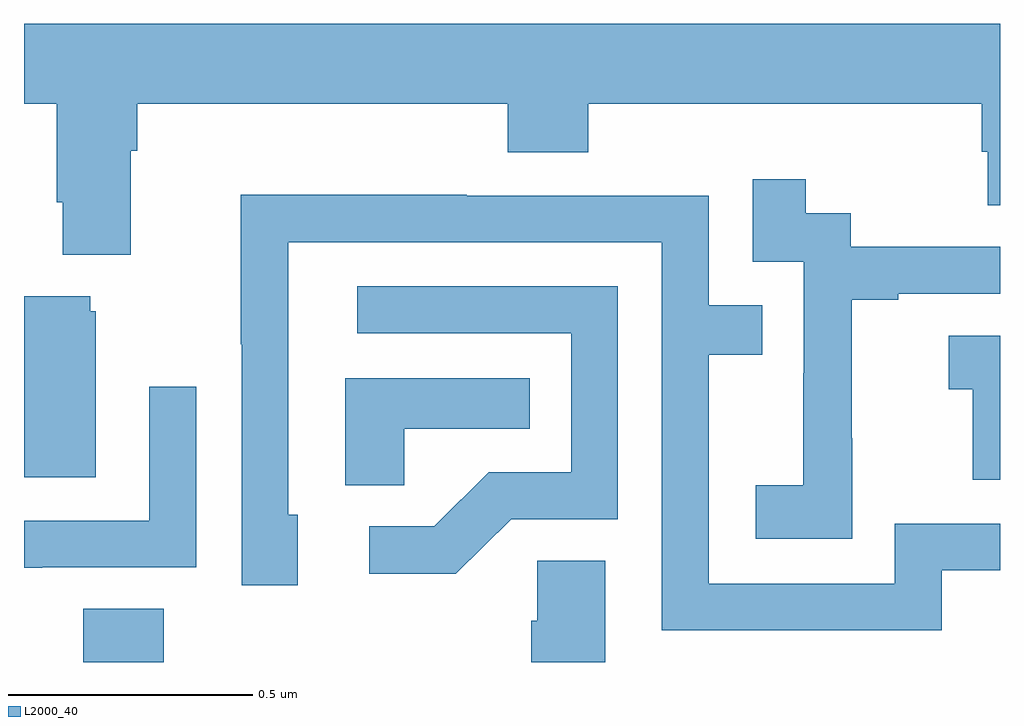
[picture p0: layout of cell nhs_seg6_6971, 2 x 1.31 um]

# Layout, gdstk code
import gdstk
lib = gdstk.Library(unit=1e-6, precision=1e-09)
def R(c, l, rs):  # rectangles x0, y0, x1, y1
    for r in rs: c.add(gdstk.rectangle(r[:2], r[2:], *l))
def P(c, l, *ps):  # polygons
    for p in ps: c.add(gdstk.Polygon(p, *l))
L2000_40 = (2000, 40)

nhs_seg6_6971 = lib.new_cell('nhs_seg6_6971')
R(nhs_seg6_6971, L2000_40, [(202.121,971.5,202.286,971.609)])
P(nhs_seg6_6971, L2000_40, [(202.219,972.548),(202.232,972.548),(202.232,972.644),(202.991,972.644),(202.991,972.545),(203.156,972.545),(203.156,972.644),(203.963,972.644),(203.963,972.546),(203.975,972.546),(203.975,972.436),(204,972.436),(204,972.808),(202,972.808),(202,972.644),(202.067,972.644),(202.067,972.442),(202.079,972.442),(202.079,972.335),(202.219,972.335)],
  [(203.697,971.959),(203.696,971.959),(203.696,972.243),(203.791,972.243),(203.791,972.255),(204,972.255),(204,972.351),(203.694,972.351),(203.694,972.42),(203.602,972.42),(203.602,972.49),(203.493,972.49),(203.493,972.321),(203.598,972.321),(203.598,972.092),(203.597,972.092),(203.597,971.863),(203.499,971.863),(203.499,971.753),(203.697,971.753)],
  [(203.881,971.688),(204,971.688),(204,971.784),(203.784,971.784),(203.784,971.661),(203.403,971.661),(203.403,972.13),(203.513,972.13),(203.513,972.231),(203.403,972.231),(203.403,972.456),(202.907,972.456),(202.907,972.458),(202.444,972.458),(202.444,972.151),(202.446,972.151),(202.446,971.658),(202.561,971.658),(202.561,971.802),(202.542,971.802),(202.542,972.36),(203.307,972.36),(203.307,971.565),(203.881,971.565)],
  [(202.998,971.793),(203.217,971.793),(203.217,972.27),(202.683,972.27),(202.683,972.174),(203.121,972.174),(203.121,971.889),(202.952,971.889),(202.841,971.778),(202.707,971.778),(202.707,971.681),(202.885,971.681)],
  [(202.147,972.219),(202.136,972.219),(202.136,972.25),(202,972.25),(202,971.879),(202.147,971.879)],
  [(204,972.169),(203.895,972.169),(203.895,972.059),(203.944,972.059),(203.944,971.874),(204,971.874)],
  [(202.779,971.978),(203.036,971.978),(203.036,972.082),(202.658,972.082),(202.658,971.863),(202.779,971.863)],
  [(202.037,971.694),(202.353,971.694),(202.353,972.064),(202.257,972.064),(202.257,971.79),(202,971.79),(202,971.693),(202.037,971.693)],
  [(203.191,971.708),(203.052,971.708),(203.052,971.585),(203.039,971.585),(203.039,971.5),(203.191,971.5)])

lib.write_gds('nhs_seg6_6971.gds')
